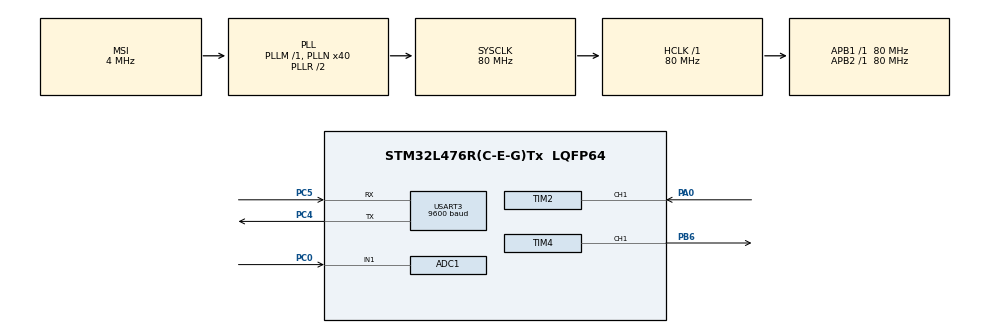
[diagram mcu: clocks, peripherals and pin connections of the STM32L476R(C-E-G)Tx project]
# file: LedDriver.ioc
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ADC1.Channel-0\#ChannelRegularConversion=ADC_CHANNEL_1
ADC1.NbrOfConversionFlag=1
ADC1.OffsetNumber-0\#ChannelRegularConversion=ADC_OFFSET_NONE
ADC1.OversamplingMode=ENABLE
ADC1.Rank-0\#ChannelRegularConversion=1
ADC1.Ratio=ADC_OVERSAMPLING_RATIO_64
ADC1.RightBitShift=ADC_RIGHTBITSHIFT_6
ADC1.SamplingTime-0\#ChannelRegularConversion=ADC_SAMPLETIME_640CYCLES_5
ADC1.master=1
Dma.Request0=TIM4_CH1
Dma.TIM4_CH1.0.Direction=DMA_MEMORY_TO_PERIPH
Dma.TIM4_CH1.0.Instance=DMA1_Channel1
Dma.TIM4_CH1.0.MemDataAlignment=DMA_MDATAALIGN_BYTE
Dma.TIM4_CH1.0.MemInc=DMA_MINC_ENABLE
Dma.TIM4_CH1.0.Mode=DMA_NORMAL
Dma.TIM4_CH1.0.PeriphDataAlignment=DMA_PDATAALIGN_HALFWORD
Dma.TIM4_CH1.0.PeriphInc=DMA_PINC_DISABLE
Dma.TIM4_CH1.0.Priority=DMA_PRIORITY_LOW
Mcu.Family=STM32L4
Mcu.Name=STM32L476R(C-E-G)Tx
Mcu.Package=LQFP64
NVIC.DMA1_Channel1_IRQn=true\:0\:0\:false\:false\:true\:false\:true
NVIC.PriorityGroup=NVIC_PRIORITYGROUP_4
NVIC.RTC_Alarm_IRQn=true\:1\:0\:true\:true\:true\:1\:true\:true
NVIC.TIM2_IRQn=true\:2\:0\:true\:true\:true\:2\:true\:true
NVIC.TIM6_DAC_IRQn=true\:3\:0\:true\:true\:true\:3\:true\:true
PA0.Signal=S_TIM2_CH1
PA13\ (JTMS-SWDIO).Mode=Serial_Wire
PA13\ (JTMS-SWDIO).Signal=SYS_JTMS-SWDIO
PA14\ (JTCK-SWCLK).Mode=Serial_Wire
PA14\ (JTCK-SWCLK).Signal=SYS_JTCK-SWCLK
PB6.Signal=S_TIM4_CH1
PC0.Signal=ADCx_IN1
PC14-OSC32_IN\ (PC14).Mode=LSE-External-Oscillator
PC14-OSC32_IN\ (PC14).Signal=RCC_OSC32_IN
PC15-OSC32_OUT\ (PC15).Mode=LSE-External-Oscillator
PC15-OSC32_OUT\ (PC15).Signal=RCC_OSC32_OUT
PC4.GPIO_ModeDefaultPP=GPIO_MODE_AF_OD
PC4.Mode=Asynchronous
PC4.Signal=USART3_TX
PC5.Mode=Asynchronous
PC5.Signal=USART3_RX
ProjectManager.HeapSize=0x200
ProjectManager.StackSize=0x400
ProjectManager.TargetToolchain=STM32CubeIDE
RCC.ADCFreq_Value=32000000
RCC.AHBFreq_Value=80000000
RCC.APB1Freq_Value=80000000
RCC.APB1TimFreq_Value=80000000
RCC.APB2Freq_Value=80000000
RCC.APB2TimFreq_Value=80000000
RCC.CortexFreq_Value=80000000
RCC.HCLKFreq_Value=80000000
RCC.HSE_VALUE=8000000
RCC.HSI_VALUE=16000000
RCC.MSI_VALUE=4000000
RCC.PLLN=40
RCC.PLLSAI1N=16
RCC.RTCClockSelection=RCC_RTCCLKSOURCE_LSE
RCC.SYSCLKFreq_VALUE=80000000
RCC.SYSCLKSource=RCC_SYSCLKSOURCE_PLLCLK
RCC.USBFreq_Value=32000000
RCC.VCOOutputFreq_Value=160000000
RTC.Alarm-Alarm\ A=RTC_ALARM_A
RTC.AlarmDateWeekDaySel-Alarm\ A=RTC_ALARMDATEWEEKDAYSEL_DATE
RTC.AlarmMaskDateWeekDay-Alarm\ A=RTC_ALARMMASK_DATEWEEKDAY
RTC.AlarmMaskDateWeekDay_B-Alarm\ B=RTC_ALARMMASK_DATEWEEKDAY
RTC.AlarmMaskSeconds-Alarm\ A=RTC_ALARMMASK_SECONDS
RTC.AlarmMaskSeconds_B-Alarm\ B=RTC_ALARMMASK_SECONDS
RTC.Alarm_B-Alarm\ B=RTC_ALARM_B
RTC.Date=17
RTC.Format=RTC_FORMAT_BIN
RTC.Hours=12
RTC.Hours_A-Alarm\ A=12
RTC.Hours_B-Alarm\ B=12
RTC.Minutes=15
RTC.Minutes_A-Alarm\ A=16
RTC.Minutes_B-Alarm\ B=17
RTC.Seconds=45
RTC.Seconds_A-Alarm\ A=0
RTC.WeekDay=RTC_WEEKDAY_SUNDAY
RTC.Year=22
SH.ADCx_IN1.0=ADC1_IN1,IN1-Single-Ended
SH.S_TIM2_CH1.0=TIM2_CH1,TriggerSource_TI1ED
SH.S_TIM2_CH1.1=TIM2_CH1,Input_Capture1_from_TI1
SH.S_TIM4_CH1.0=TIM4_CH1,PWM Generation1 CH1
TIM2.Channel-Input_Capture1_from_TI1=TIM_CHANNEL_1
TIM2.ICPolarity_CH1=TIM_INPUTCHANNELPOLARITY_FALLING
TIM2.Prescaler=79
TIM4.Channel-PWM\ Generation1\ CH1=TIM_CHANNEL_1
TIM4.Period=199
TIM6.Period=2499
TIM6.Prescaler=7999
USART3.BaudRate=9600
USART3.OverrunDisableParam=ADVFEATURE_OVERRUN_DISABLE
USART3.VirtualMode-Asynchronous=VM_ASYNC
VP_RTC_VS_RTC_Activate.Mode=RTC_Enabled
VP_RTC_VS_RTC_Alarm_A_Intern.Mode=Alarm A
VP_RTC_VS_RTC_Alarm_B_Intern.Mode=Alarm B
VP_RTC_VS_RTC_Calendar.Mode=RTC_Calendar
VP_TIM2_VS_ClockSourceINT.Mode=Internal
VP_TIM2_VS_ControllerModeReset.Mode=Reset Mode
VP_TIM4_VS_ClockSourceINT.Mode=Internal
VP_TIM6_VS_ClockSourceINT.Mode=Enable_Timer
board=custom

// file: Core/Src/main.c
/* USER CODE BEGIN Header */
/**
 ******************************************************************************
 * @file           : main.c
 * @brief          : Main program body
 ******************************************************************************
 * @attention
 *
 * <h2><center>&copy; Copyright (c) 2021 STMicroelectronics.
 * All rights reserved.</center></h2>
 *
 * This software component is licensed by ST under BSD 3-Clause license,
 * the "License"; You may not use this file except in compliance with the
 * License. You may obtain a copy of the License at:
 *                        opensource.org/licenses/BSD-3-Clause
 *
 ******************************************************************************
 */
/* USER CODE END Header */
#include "main.h"
#include "adc.h"
#include "dma.h"
#include "rtc.h"
#include "tim.h"
#include "usart.h"
#include "gpio.h"

/* USER CODE BEGIN Includes */

#include "ws2811.h"
#include "seven_segment_driver.h"
#include "ir.h"
#include "menu.h"
#include "temperature_sensor.h"
#include <math.h>
#include <stdio.h>
#include "ds18b20.h"

/* USER CODE END Includes */

/* USER CODE BEGIN PD */

// Duration and period of data show:
#define DATA_SHOW_PERIOD 30
#define DATA_SHOW_DURATION (DATA_SHOW_PERIOD-5)

// Duration and period of temperature show:
#define TEMPERATURE_SHOW_PERIOD 35
#define TEMPERATURE_SHOW_DURATION (TEMPERATURE_SHOW_PERIOD-5)

// StandBy time:

#define STANDBY_HOUR 17
#define STANDBY_MINUTE 00
#define STANDBY_SECOND 00

// TRUE FALSE

#define TRUE 1
#define FALSE 0

/* USER CODE END PD */

/* USER CODE BEGIN PV */

// Flag for menu blinking
volatile int flag_blinker = 0;
volatile int flag_one_second=0;

volatile int flag_showCalendar_or_temperature = 0;
volatile int flag_info_time=0;

/* USER CODE END PV */

void SystemClock_Config(void);
static void MX_NVIC_Init(void);

/* USER CODE BEGIN 0 */

// FUNTIONS:

void normalWorkStart(void) {
	if (flag_showCalendar_or_temperature < DATA_SHOW_DURATION) {
		if (flag_showCalendar_or_temperature == 0) {
			dotOff();
			backToColorinMemory();
			dwukropekTurnOn();
			//Zapobieganie migotaniu
			flag_showCalendar_or_temperature += 1;
		}
		normalDisplayStart();
	}

	// DISPLAY DATE IN SPECIFED TIME

	else if (flag_showCalendar_or_temperature < TEMPERATURE_SHOW_DURATION) {
		if (flag_showCalendar_or_temperature == DATA_SHOW_DURATION) {
			dwukropekTurnOff();
			// Zapobieganie migotaniu
			flag_showCalendar_or_temperature +=1;
			mixColor();
		}
		if(flag_showCalendar_or_temperature==DATA_SHOW_DURATION+2){
			ds18b20_start_measure(NULL);
		}
		dotOn();
		dateOnDisplay();
	}

	// DISPLAY TEMPERATURE IN SPECIFIED TIME

	else if (flag_showCalendar_or_temperature <TEMPERATURE_SHOW_PERIOD) {
		if (flag_showCalendar_or_temperature == TEMPERATURE_SHOW_DURATION) {
			displayStop();
			ws2811_wait();
			mixColor();
			dotOn();
			temperatureOnDisplay(TRUE);
			flag_showCalendar_or_temperature += 1;
		}
		dotOn();
		temperatureOnDisplay(FALSE);
	}

}

// Funtions rewrite;

// Printf function modifed to use with USART
//int __io_putchar(int ch) {
//	if (ch == '\n') {
//		__io_putchar('\r');
//	}
//
//	HAL_UART_Transmit(&huart2, (uint8_t*) &ch, 1, HAL_MAX_DELAY);
// raz dwa
//
//	return 1;
//}

// Callbacks from interrupts:

// Interrupt from RTC after every one second
void HAL_RTC_AlarmAEventCallback(RTC_HandleTypeDef *hrtc) {

}

//void HAL_RTC_AlarmBEventCallback(RTC_HandleTypeDef *hrtc) {
//
//}

// Interrupt for remote controler
void HAL_TIM_IC_CaptureCallback(TIM_HandleTypeDef *htim) {

	if (htim == &htim2) {
		switch (HAL_TIM_GetActiveChannel(&htim2)) {
		case HAL_TIM_ACTIVE_CHANNEL_1:
			ir_tim_interrupt();
			break;
		default:
			break;
		}
	}
}

// Interrupt from timer 6 after 0,3 seconds. It is run, when MENU is on.
void HAL_TIM_PeriodElapsedCallback(TIM_HandleTypeDef *htim) {

	if (htim == &htim6)

	{
		// Hours blinking in hours menu mode:
		if (TurnOnMenuMode() == MENU_TIME_LEVEL
				|| TurnOnMenuMode() == MENU_TIME_HOUR_SECOND_DIGIT) {

			if (flag_blinker == 1) {
				ws2811_firstAndSecondSegmentsDisplayReset();
				flag_blinker = 0;
			} else {
				menuDisplayStart();
				dwukropekTurnOn();
				flag_blinker = 1;
			}
		}

		// Minute blinking in minutes menu mode:
		if (TurnOnMenuMode() == MENU_TIME_MINUTE_LEVEL
				|| TurnOnMenuMode() == MENU_TIME_MINUTE_SECOND_DIGIT) {

			if (flag_blinker == 1) {
				ws2811_ThirdAndFourthSegmentsDisplayReset();
				flag_blinker = 0;
			} else {
				menuDisplayStart();
				dwukropekTurnOn();
				flag_blinker = 1;
			}
		}

		// Months blinking in months menu mode:
		if (TurnOnMenuMode() == MENU_DATE_LEVEL
				|| TurnOnMenuMode() == MENU_DATE_MONTH_SECOND_DIGIT) {

			if (flag_blinker == 1) {
				ws2811_ThirdAndFourthSegmentsDisplayReset();
				flag_blinker = 0;
			} else {
				dateOnDisplay();
				dotOn();
				flag_blinker = 1;
			}
		}

		// Days blinking in days menu mode:
		if (TurnOnMenuMode() == MENU_DATE_DAY_FIRST_DIGIT
				|| TurnOnMenuMode() == MENU_DATE_DAY_SECOND_DIGIT) {

			if (flag_blinker == 1) {
				ws2811_firstAndSecondSegmentsDisplayReset();
				flag_blinker = 0;
			} else {
				dateOnDisplay();
				dotOn();
				flag_blinker = 1;
			}
		}

		// Years blinking in years mode:

		if (TurnOnMenuMode() == MENU_YEAR_LEVEL
				|| TurnOnMenuMode() == MENU_YEAR_FOURTH_DIGIT) {

			firstSegment(two);
			secondSegment(zero);
			dotOff();

			if (flag_blinker == 1) {
				ws2811_ThirdAndFourthSegmentsDisplayReset();
				flag_blinker = 0;
			} else {
				yearOnDisplay();
				flag_blinker = 1;
			}
		}

		// Sleep Info Display:

		if(TurnOnMenuMode()==MENU_INFO_SLEEP){

				sleepTimeSetDisplay();
				flag_info_time+=1;
				if(flag_info_time==12){
					flag_info_time=0;
					flagMenu=MENU_TIME_MINUTE_SECOND_DIGIT;
				}

		}

		// Alarm Info Display:

		if(TurnOnMenuMode()==MENU_INFO_ALARM){
			alarmTimeSetDisplay();
			flag_info_time += 1;
			if (flag_info_time == 12) {
				flag_info_time = 0;
				flagMenu = MENU_TIME_MINUTE_SECOND_DIGIT;
			}

		}

		// OKRES 1 sekundy:
		if (TurnOnMenuMode() != MENU_TEST_LEVEL) {
			flag_one_second += 1;

			if (flag_one_second >= 4) {
				if (TurnOnMenuMode() == MENU_OFF
						&& flag_showCalendar_or_temperature < DATA_SHOW_DURATION) {
					dwukropekStart();

				} else {

				}

				// Obsluga flagi daty i temperatury
				flag_showCalendar_or_temperature += 1;
				if (flag_showCalendar_or_temperature >= TEMPERATURE_SHOW_PERIOD) {
					flag_showCalendar_or_temperature = 0;
				}
				flag_one_second=0;

			}

		}

	}
}

/* USER CODE END 0 */

int main(void)
{

  /* MCU Configuration--------------------------------------------------------*/

  /* Reset of all peripherals, Initializes the Flash interface and the Systick. */
  HAL_Init();

  /* Configure the system clock */
  SystemClock_Config();

  /* Initialize all configured peripherals */
  MX_GPIO_Init();
  MX_DMA_Init();
  MX_TIM4_Init();
  MX_RTC_Init();
  MX_TIM2_Init();
  MX_TIM6_Init();
  MX_ADC1_Init();
  MX_USART3_UART_Init();

  /* Initialize interrupts */
  MX_NVIC_Init();
  /* USER CODE BEGIN 2 */

	//Initalization of program
	ws2811_init();
	HAL_TIM_Base_Start_IT(&htim6);
	ir_init();
	HAL_PWR_EnableBkUpAccess();
	// Temperature sensor

	uint8_t ds1[DS18B20_ROM_CODE_SIZE];

	if (ds18b20_read_address(ds1) != HAL_OK) {
		Error_Handler();
	}

	/*
	 * --------------------------------------> CHANGE STANDARD COLOR
	 */
	backToColorinMemory();

  /* USER CODE END 2 */

  /* Infinite loop */
  /* USER CODE BEGIN WHILE */

	while (1) {

		// ZEGAR:

		// NORMAL WORK

		if (TurnOnMenuMode() == 0) {
			normalWorkStart();
			// Turn on StanbyMode when it is time for it
			TurnOnStanbyMode(sleepHour, sleepMinute, STANDBY_SECOND);
		}

		// WAIT FOR SIGNAL FROM REMOTE CONTROLLER
		int value = ir_read();
		if (value != -1) {
			menu(value);
		}

		// Test segments:

		if(TurnOnMenuMode()==MENU_TEST_LEVEL){
			testSegments();
		}

	}

    /* USER CODE END WHILE */

}

void SystemClock_Config(void)
{
  RCC_OscInitTypeDef RCC_OscInitStruct = {0};
  RCC_ClkInitTypeDef RCC_ClkInitStruct = {0};

  /** Configure the main internal regulator output voltage
  */
  if (HAL_PWREx_ControlVoltageScaling(PWR_REGULATOR_VOLTAGE_SCALE1) != HAL_OK)
  {
    Error_Handler();
  }
  /** Configure LSE Drive Capability
  */
  HAL_PWR_EnableBkUpAccess();
  __HAL_RCC_LSEDRIVE_CONFIG(RCC_LSEDRIVE_LOW);
  /** Initializes the RCC Oscillators according to the specified parameters
  * in the RCC_OscInitTypeDef structure.
  */
  RCC_OscInitStruct.OscillatorType = RCC_OSCILLATORTYPE_LSE|RCC_OSCILLATORTYPE_MSI;
  RCC_OscInitStruct.LSEState = RCC_LSE_ON;
  RCC_OscInitStruct.MSIState = RCC_MSI_ON;
  RCC_OscInitStruct.MSICalibrationValue = 0;
  RCC_OscInitStruct.MSIClockRange = RCC_MSIRANGE_6;
  RCC_OscInitStruct.PLL.PLLState = RCC_PLL_ON;
  RCC_OscInitStruct.PLL.PLLSource = RCC_PLLSOURCE_MSI;
  RCC_OscInitStruct.PLL.PLLM = 1;
  RCC_OscInitStruct.PLL.PLLN = 40;
  RCC_OscInitStruct.PLL.PLLP = RCC_PLLP_DIV7;
  RCC_OscInitStruct.PLL.PLLQ = RCC_PLLQ_DIV2;
  RCC_OscInitStruct.PLL.PLLR = RCC_PLLR_DIV2;
  if (HAL_RCC_OscConfig(&RCC_OscInitStruct) != HAL_OK)
  {
    Error_Handler();
  }
  /** Initializes the CPU, AHB and APB buses clocks
  */
  RCC_ClkInitStruct.ClockType = RCC_CLOCKTYPE_HCLK|RCC_CLOCKTYPE_SYSCLK
                              |RCC_CLOCKTYPE_PCLK1|RCC_CLOCKTYPE_PCLK2;
  RCC_ClkInitStruct.SYSCLKSource = RCC_SYSCLKSOURCE_PLLCLK;
  RCC_ClkInitStruct.AHBCLKDivider = RCC_SYSCLK_DIV1;
  RCC_ClkInitStruct.APB1CLKDivider = RCC_HCLK_DIV1;
  RCC_ClkInitStruct.APB2CLKDivider = RCC_HCLK_DIV1;

  if (HAL_RCC_ClockConfig(&RCC_ClkInitStruct, FLASH_LATENCY_4) != HAL_OK)
  {
    Error_Handler();
  }
  /** Enable MSI Auto calibration
  */
  HAL_RCCEx_EnableMSIPLLMode();
}

/**
  * @brief NVIC Configuration.
  * @retval None
  */
static void MX_NVIC_Init(void)
{
  /* RTC_Alarm_IRQn interrupt configuration */
  HAL_NVIC_SetPriority(RTC_Alarm_IRQn, 1, 0);
  HAL_NVIC_EnableIRQ(RTC_Alarm_IRQn);
  /* TIM2_IRQn interrupt configuration */
  HAL_NVIC_SetPriority(TIM2_IRQn, 2, 0);
  HAL_NVIC_EnableIRQ(TIM2_IRQn);
  /* TIM6_DAC_IRQn interrupt configuration */
  HAL_NVIC_SetPriority(TIM6_DAC_IRQn, 3, 0);
  HAL_NVIC_EnableIRQ(TIM6_DAC_IRQn);
}

void Error_Handler(void)
{
	__disable_irq();
	while (1) {
	}
}
